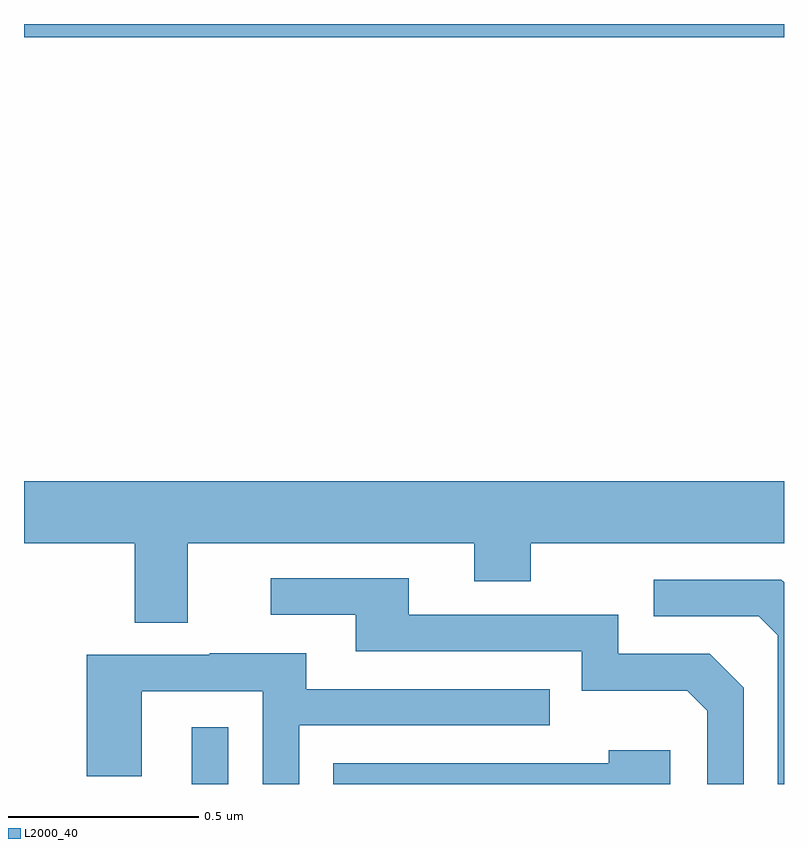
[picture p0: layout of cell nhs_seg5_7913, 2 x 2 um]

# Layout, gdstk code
import gdstk
lib = gdstk.Library(unit=1e-6, precision=1e-09)
def R(c, l, rs):  # rectangles x0, y0, x1, y1
    for r in rs: c.add(gdstk.rectangle(r[:2], r[2:], *l))
def P(c, l, *ps):  # polygons
    for p in ps: c.add(gdstk.Polygon(p, *l))
L2000_40 = (2000, 40)

nhs_seg5_7913 = lib.new_cell('nhs_seg5_7913')
R(nhs_seg5_7913, L2000_40, [(215.441,850.799,215.538,850.948), (215,852.764,217,852.799)])
P(nhs_seg5_7913, L2000_40, [(215.431,851.432),(216.185,851.432),(216.185,851.333),(216.333,851.333),(216.333,851.432),(217,851.432),(217,851.596),(215,851.596),(215,851.432),(215.291,851.432),(215.291,851.224),(215.431,851.224)],
  [(216.894,851.052),(216.804,851.142),(216.564,851.142),(216.564,851.244),(216.013,851.244),(216.013,851.34),(215.649,851.34),(215.649,851.244),(215.873,851.244),(215.873,851.148),(216.468,851.148),(216.468,851.045),(216.745,851.045),(216.798,850.992),(216.798,850.799),(216.894,850.799)],
  [(217,851.33),(216.993,851.337),(216.657,851.337),(216.657,851.241),(216.933,851.241),(216.984,851.19),(216.984,850.799),(217,850.799)],
  [(215.724,850.953),(216.383,850.953),(216.383,851.049),(215.743,851.049),(215.743,851.143),(215.489,851.143),(215.489,851.139),(215.165,851.139),(215.165,850.819),(215.31,850.819),(215.31,851.043),(215.628,851.043),(215.628,850.799),(215.724,850.799)],
  [(216.7,850.888),(216.539,850.888),(216.539,850.854),(215.814,850.854),(215.814,850.799),(216.7,850.799)])

lib.write_gds('nhs_seg5_7913.gds')
